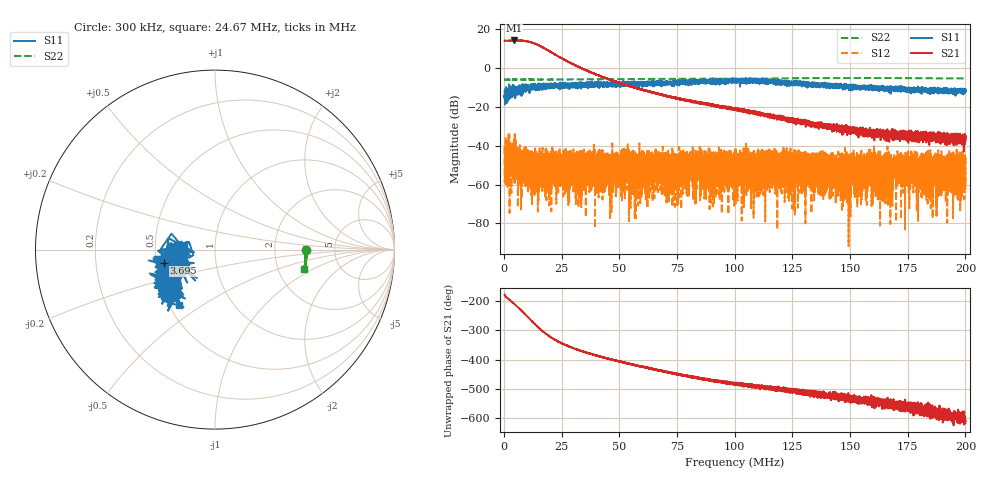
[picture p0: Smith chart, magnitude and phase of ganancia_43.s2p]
# Hz S DB R 50
! CMT, M5065, 19127446, 24.2.4/2
! Date: 11/8/2024 5:43:34 PM
! Data: Format (Calibration Info)
! Freq	S11:dB/Ang(F2)	S21:dB/Ang(F2)	S12:dB/Ang(F2)	S22:dB/Ang(F2)
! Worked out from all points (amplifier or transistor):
!   9000 points, 300 kHz to 200 MHz, reference 50 ohm
!   highest |S21| = 14.3 dB at 4.361 MHz (marker M1)
!   |S21| within 3 dB of that: start of sweep to 15.87 MHz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
!   unconditionally stable (mu >= 1): start of sweep to end of sweep
!   at 33.59 MHz: K = 306.75, MAG = 1.9 dB, |S12| = -59.6 dB
!   at 100.2 MHz: K = 1530.16, MAG = -18.8 dB, |S12| = -53.4 dB
!   at 200 MHz: K = 22120.26, MAG = -35.4 dB, |S12| = -59.4 dB
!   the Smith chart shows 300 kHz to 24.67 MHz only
!   S11 on the Smith chart (normalised r, x): 300 kHz: 0.70, +0.02; 3.695 MHz: 0.55, -0.09; 24.67 MHz: 0.56, -0.40
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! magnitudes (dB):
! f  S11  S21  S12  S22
! 300 kHz  -15.1  14.2  -40.8  -5.9
! 3.695 MHz  -10.7  14.2  -50.5  -5.9
! 4.361 MHz  -11.4  14.3  -36.9  -5.9
! 6.625 MHz  -10.8  14.2  -51.7  -5.9
! 13.22 MHz  -9.9  12.8  -52.2  -5.8
! 14.26 MHz  -9.9  12.3  -63.6  -5.9
! 24.67 MHz  -8.6  5.4  -50.7  -5.9
! 33.59 MHz  -8.8  0.0  -59.6  -5.8
! 52.63 MHz  -8.7  -8.6  -56.1  -5.6
! 66.87 MHz  -7.6  -13.4  -56.0  -5.5
! 100.2 MHz  -6.8  -21.2  -53.4  -5.4
! 133.4 MHz  -8.2  -28.5  -50.1  -5.1
! 156 MHz  -8.9  -32.0  -52.9  -5.1
! 161.3 MHz  -9.9  -33.5  -47.1  -5.1
! 163.4 MHz  -9.8  -34.9  -65.7  -5.1
! 166.7 MHz  -10.8  -33.8  -43.1  -5.1
! 177.4 MHz  -10.9  -34.9  -64.1  -5.2
! 179.9 MHz  -11.0  -38.2  -61.9  -5.2
! 181.1 MHz  -11.3  -36.0  -46.8  -5.2
! 196.7 MHz  -11.6  -35.2  -49.3  -5.3
! 198.9 MHz  -11.0  -36.1  -53.9  -5.3
! 200 MHz  -12.1  -37.2  -59.4  -5.3
